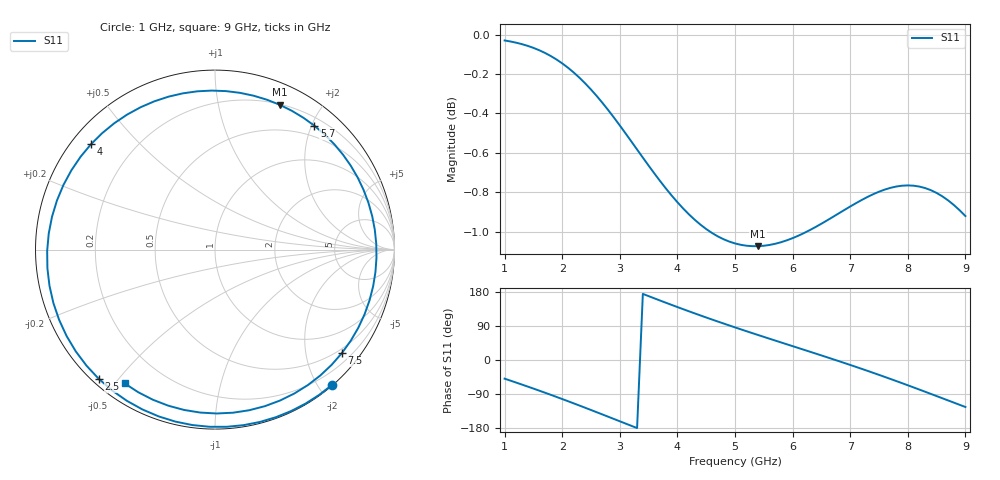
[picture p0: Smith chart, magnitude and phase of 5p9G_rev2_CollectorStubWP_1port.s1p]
! Touchstone file from project 5p9G_rev2
! Exported from HFSS 2016.0.0
! Variables:
!  $Z_trans_w = 0.69mm
!  $_0402_w = 0.6096mm
!  $_50ohm_w = 1mm
!  $copper_t = 0.03556mm
!  $f = 5900000000
!  $lambda = 50.8122810169492mm
!  sub_h = 1.27mm
!  sub_l = 10mm
!  sub_w = 10mm
# GHZ S MA R 50.000000
! Modal data exported
! Port[1] = 1:1
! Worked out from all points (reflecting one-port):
!   81 points, 1 GHz to 9 GHz, reference 50 ohm
!   lowest |S11| = -1.1 dB at 5.4 GHz (marker M1), VSWR 16.20, Z = 10.3 + j76 ohm
!   phase of S11 starts at -49 deg and turns -435 deg over the sweep
!   S11 on the Smith chart (normalised r, x): 1 GHz: 0.01, -2.18; 2.5 GHz: 0.02, -0.45; 4 GHz: 0.06, +0.37; 5.7 GHz: 0.32, +2.05; 7.5 GHz: 0.40, -2.75; 9 GHz: 0.07, -0.53
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1  0.9966 -49.3
! Gamma ! 0.144142760528838 51.118001080163
! Port Impedance50 0
1.5  0.9923 -75.4
1.8  0.9876 -91.8
2  0.9834 -103.0
2.2  0.9781 -114.4
2.5  0.9684 -132.0
2.8  0.9568 -149.8
3  0.9483 -161.7
3.2  0.9395 -173.7
3.5  0.9263 168.6
3.7  0.918 156.9
4  0.9067 139.7
4.3  0.8975 123.0
4.5  0.8926 112.2
4.7  0.8888 101.6
5  0.8852 86.1
5.4  0.8837 66.0
5.7  0.885 51.2
6  0.8879 36.6
6.5  0.8954 12.1
7  0.9045 -13.0
7.2  0.9079 -23.4
7.5  0.9123 -39.2
8  0.9157 -66.7
8.3  0.9143 -83.7
8.5  0.9117 -95.2
8.7  0.9077 -106.7
9  0.8994 -124.0
